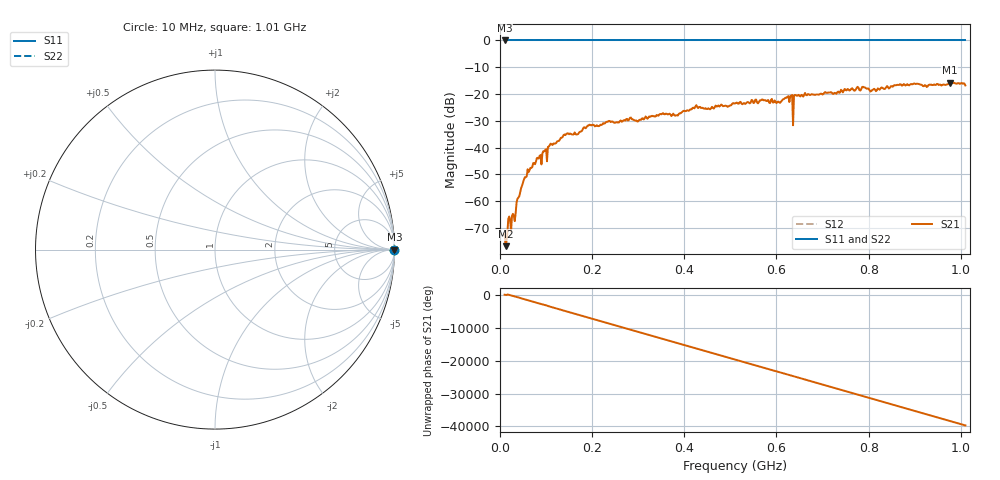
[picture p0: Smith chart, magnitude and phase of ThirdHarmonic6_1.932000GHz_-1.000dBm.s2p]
! 8/16/2025 11:17:12 PM
! C:\ANRITSUVNA\TEMP\TEMP.S2P
! CHANNEL.1
! TR.MEASUREMENT
! RAW.DATA
! RF.CORRECTION.OFF
! AVERAGING.OFF
! IF.BANDWIDTH: 5KHZ
! SWEEPTYPE:  FREQ.SWEEP(Linear)
! Reference Plane Port Info
! PORT:  PORT1  PORT2
! DISTANCE:  0  m  0  m
! TIME:  0  s  0  s
! PHASE.OFFSET:  0  deg.  0  deg.
! LOSS:  0  dB  0  dB
! REF.LOSS:  0  dB  0  dB
! REF.FREQ:  0  Hz  0  Hz
! Power Info
! POWER:  -20  dBm  -20  dBm
! EFF.POWER:  -20  dBm  -20  dBm
! SOURCE.ATTEN:  0  dB  0  dB
! TEST.ATTEN:  0  dB  0  dB
# GHZ S RI R 50.0
! FREQ.GHZ  S11RE  S11IM  S21RE  S21IM  S12RE  S12IM  S22RE  S22IM
!; PortSelection: Port_12
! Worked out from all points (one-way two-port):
!   501 points, 10 MHz to 1.01 GHz, reference 50 ohm
!   highest |S21| = -15.74 dB at 976 MHz (marker M1); lowest = -76.8 dB at 12 MHz (marker M2)
!   lowest |S11| = 0.0 dB at 10 MHz (marker M3)
!   |S11| at or under -10 dB: nowhere
!   |S22| runs from 0.0 to 0.0 dB; largest |S21 - S12| = 1.2
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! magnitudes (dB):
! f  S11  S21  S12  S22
! 10 MHz  0.0  -71.9  0.0  0.0
! 12 MHz  0.0  -76.8  0.0  0.0
! 22 MHz  0.0  -67.1  0.0  0.0
! 28 MHz  0.0  -64.7  0.0  0.0
! 50 MHz  0.0  -53.0  0.0  0.0
! 64 MHz  0.0  -48.5  0.0  0.0
! 108 MHz  0.0  -39.0  0.0  0.0
! 142 MHz  0.0  -35.3  0.0  0.0
! 178 MHz  0.0  -33.7  0.0  0.0
! 234 MHz  0.0  -30.4  0.0  0.0
! 344 MHz  0.0  -28.1  0.0  0.0
! 382 MHz  0.0  -28.0  0.0  0.0
! 510 MHz  0.0  -23.5  0.0  0.0
! 604 MHz  0.0  -22.8  0.0  0.0
! 630 MHz  0.0  -20.8  0.0  0.0
! 632 MHz  0.0  -20.6  0.0  0.0
! 640 MHz  0.0  -20.3  0.0  0.0
! 642 MHz  0.0  -20.4  0.0  0.0
! 678 MHz  0.0  -20.1  0.0  0.0
! 844 MHz  0.0  -17.9  0.0  0.0
! 976 MHz  0.0  -15.7  0.0  0.0
! 1.01 GHz  0.0  -16.8  0.0  0.0
